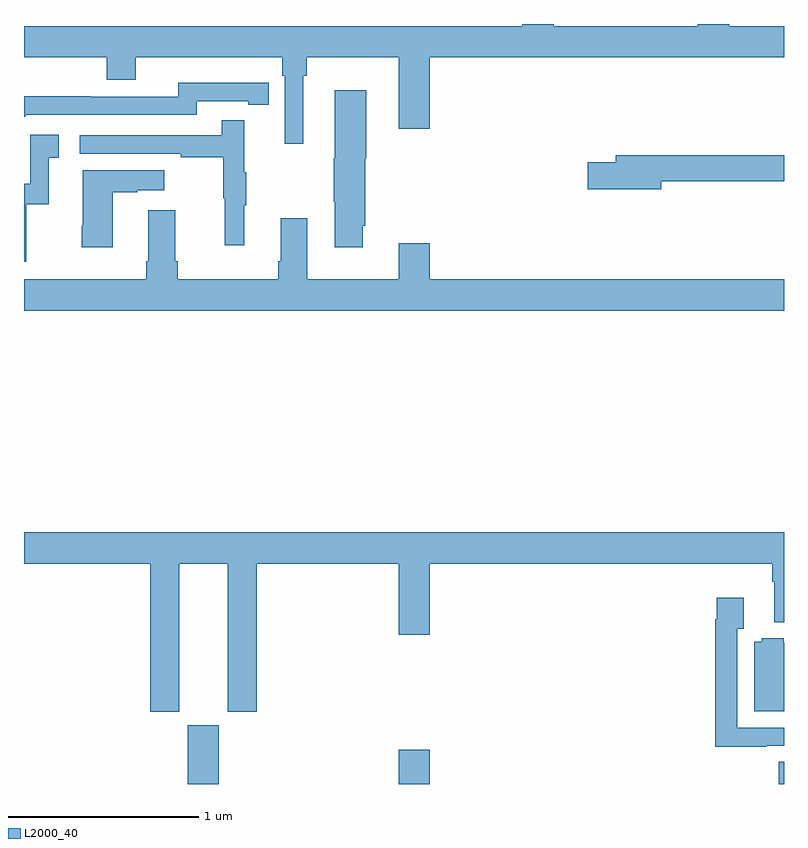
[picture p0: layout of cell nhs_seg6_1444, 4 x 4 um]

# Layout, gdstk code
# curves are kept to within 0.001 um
import gdstk
lib = gdstk.Library(unit=1e-6, precision=1e-09)
def R(c, l, rs):  # rectangles x0, y0, x1, y1
    for r in rs: c.add(gdstk.rectangle(r[:2], r[2:], *l))
def P(c, l, *ps):  # polygons
    for p in ps: c.add(gdstk.Polygon(p, *l))
L2000_40 = (2000, 40)

nhs_seg6_1444 = lib.new_cell('nhs_seg6_1444')
R(nhs_seg6_1444, L2000_40, [(199.862,955.5,200.026,955.809), (200.972,955.5,201.136,955.681), (202.973,955.5,203,955.616)])
P(nhs_seg6_1444, L2000_40, [(200.47,959.228),(200.489,959.228),(200.489,959.324),(200.972,959.324),(200.972,958.95),(201.136,958.95),(201.136,959.324),(203,959.324),(203,959.488),(202.712,959.488),(202.712,959.5),(202.547,959.5),(202.547,959.488),(201.788,959.488),(201.788,959.5),(201.623,959.5),(201.623,959.488),(199,959.488),(199,959.324),(199.436,959.324),(199.436,959.207),(199.588,959.207),(199.588,959.324),(200.36,959.324),(200.36,959.228),(200.373,959.228),(200.373,958.869),(200.47,958.869)],
  [(199.014,959.022),(199.908,959.022),(199.908,959.094),(200.18,959.094),(200.18,959.074),(200.288,959.074),(200.288,959.19),(199.812,959.191),(199.812,959.118),(199.352,959.118),(199.352,959.12),(199,959.12),(199,959.008)],
  [(200.782,958.438),(200.795,958.438),(200.795,958.794),(200.8,958.794),(200.8,959.152),(200.636,959.152),(200.636,958.794),(200.629,958.794),(200.629,958.564),(200.636,958.564),(200.636,958.326),(200.782,958.326)],
  [(200.159,958.547),(200.17,958.547),(200.17,958.721),(200.159,958.721),(200.159,958.993),(200.041,958.993),(200.041,958.914),(199.293,958.914),(199.293,958.818),(199.825,958.818),(199.825,958.798),(200.049,958.798),(200.049,958.584),(200.056,958.584),(200.056,958.335),(200.159,958.335)],
  [(199.012,958.551),(199.13,958.551),(199.13,958.797),(199.183,958.797),(199.183,958.918),(199.032,958.918),(199.032,958.659),(199,958.659),(199,958.248),(199.012,958.248)],
  [(202.354,958.672),(203,958.672),(203,958.808),(202.115,958.808),(202.115,958.772),(201.966,958.772),(201.966,958.63),(202.354,958.63)],
  [(199.468,958.615),(199.595,958.615),(199.595,958.625),(199.738,958.625),(199.738,958.729),(199.31,958.729),(199.31,958.438),(199.303,958.438),(199.303,958.326),(199.468,958.326)],
  [(203,958.156),(201.136,958.156),(201.136,958.345),(200.972,958.345),(200.972,958.156),(200.491,958.156),(200.491,958.477),(200.351,958.477),(200.351,958.252),(200.339,958.252),(200.339,958.156),(199.808,958.156),(199.808,958.252),(199.795,958.252),(199.795,958.519),(199.655,958.519),(199.655,958.252),(199.643,958.252),(199.643,958.156),(199,958.156),(199,957.992),(203,957.992)],
  [(199.816,956.66),(200.072,956.66),(200.072,955.881),(200.225,955.881),(200.225,956.66),(200.972,956.66),(200.972,956.286),(201.136,956.286),(201.136,956.66),(202.937,956.66),(202.937,956.564),(202.949,956.564),(202.949,956.351),(203,956.351),(203,956.824),(199,956.824),(199,956.66),(199.664,956.66),(199.664,955.881),(199.816,955.881)],
  [(202.909,955.701),(203,955.701),(203,955.797),(202.755,955.797),(202.755,956.318),(202.789,956.318),(202.789,956.479),(202.647,956.479),(202.647,956.366),(202.639,956.366),(202.639,955.697),(202.909,955.697)],
  [(203,956.244),(202.998,956.244),(202.998,956.266),(202.884,956.266),(202.884,956.248),(202.844,956.248),(202.844,955.882),(203,955.882)])

lib.write_gds('nhs_seg6_1444.gds')
